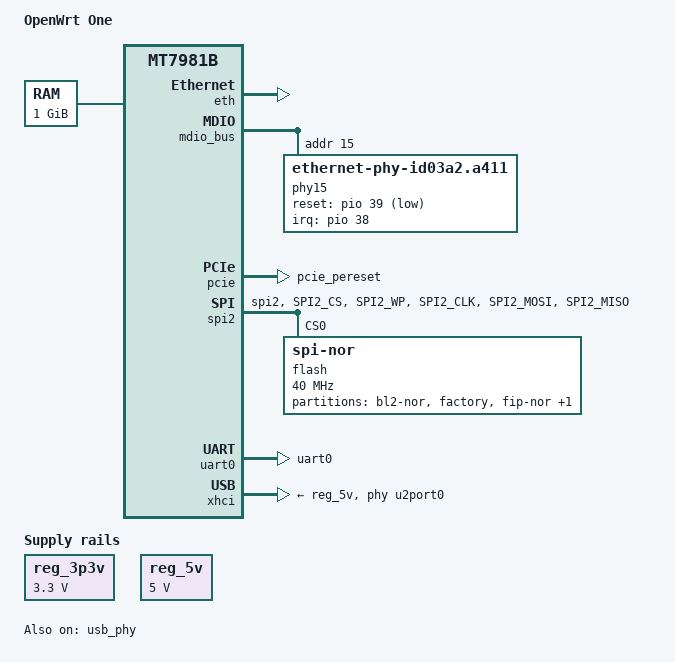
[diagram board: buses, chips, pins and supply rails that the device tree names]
// SPDX-License-Identifier: GPL-2.0-only OR MIT

/dts-v1/;

#include "mt7981b.dtsi"
#include <dt-bindings/gpio/gpio.h>
#include <dt-bindings/leds/common.h>
#include "dt-bindings/pinctrl/mt65xx.h"

/ {
	compatible = "openwrt,one", "mediatek,mt7981b";
	model = "OpenWrt One";

	aliases {
		ethernet0 = &gmac1;
		ethernet1 = &gmac0;
		serial0 = &uart0;
	};

	chosen {
		stdout-path = "serial0:115200n8";
	};

	memory@40000000 {
		reg = <0 0x40000000 0 0x40000000>;
		device_type = "memory";
	};

	reg_3p3v: regulator-3p3v {
		compatible = "regulator-fixed";
		regulator-name = "fixed-3.3V";
		regulator-min-microvolt = <3300000>;
		regulator-max-microvolt = <3300000>;
		regulator-boot-on;
		regulator-always-on;
	};

	reg_5v: regulator-5v {
		compatible = "regulator-fixed";
		regulator-name = "fixed-5V";
		regulator-min-microvolt = <5000000>;
		regulator-max-microvolt = <5000000>;
		regulator-boot-on;
		regulator-always-on;
	};
};

&eth {
	status = "okay";

	gmac0: mac@0 {
		compatible = "mediatek,eth-mac";
		reg = <0>;
		nvmem-cells = <&macaddr_factory_24 0>;
		nvmem-cell-names = "mac-address";
		phy-mode = "2500base-x";
		phy-handle = <&phy15>;
	};

	gmac1: mac@1 {
		compatible = "mediatek,eth-mac";
		reg = <1>;
		phy-mode = "gmii";
		phy-handle = <&int_gbe_phy>;
	};
};

&mdio_bus {
	phy15: ethernet-phy@f {
		compatible = "ethernet-phy-id03a2.a411";
		reg = <0xf>;
		interrupt-parent = <&pio>;
		interrupts = <38 IRQ_TYPE_EDGE_FALLING>;
		reset-gpios = <&pio 39 GPIO_ACTIVE_LOW>;
		reset-assert-us = <10000>;
		reset-deassert-us = <20000>;
		airoha,pnswap-rx;

		leds {
			#address-cells = <1>;
			#size-cells = <0>;

			led@0 {
				reg = <0>;
				function = LED_FUNCTION_WAN;
				color = <LED_COLOR_ID_AMBER>;
			};

			led@1 {
				reg = <1>;
				function = LED_FUNCTION_WAN;
				color = <LED_COLOR_ID_GREEN>;
			};
		};
	};
};

&pcie {
	pinctrl-names = "default";
	pinctrl-0 = <&pcie_pins>;
	status = "okay";
};

&pio {
	pcie_pins: pcie-pins {
		mux {
			function = "pcie";
			groups = "pcie_pereset";
		};
	};

	spi2_flash_pins: spi2-pins {
		mux {
			function = "spi";
			groups = "spi2";
		};

		conf-pu {
			bias-pull-up = <MTK_PUPD_SET_R1R0_11>;
			drive-strength = <MTK_DRIVE_8mA>;
			pins = "SPI2_CS", "SPI2_WP";
		};

		conf-pd {
			bias-pull-down = <MTK_PUPD_SET_R1R0_11>;
			drive-strength = <MTK_DRIVE_8mA>;
			pins = "SPI2_CLK", "SPI2_MOSI", "SPI2_MISO";
		};
	};

	uart0_pins: uart0-pins {
		mux {
			function = "uart";
			groups = "uart0";
		};
	};
};

&spi2 {
	pinctrl-names = "default";
	pinctrl-0 = <&spi2_flash_pins>;
	status = "okay";

	flash@0 {
		compatible = "jedec,spi-nor";
		reg = <0>;
		spi-max-frequency = <40000000>;
		#address-cells = <1>;
		#size-cells = <1>;

		partitions {
			compatible = "fixed-partitions";
			#address-cells = <1>;
			#size-cells = <1>;

			partition@0 {
				reg = <0x00000 0x40000>;
				label = "bl2-nor";
			};

			partition@40000 {
				reg = <0x40000 0xc0000>;
				label = "factory";
				read-only;

				nvmem-layout {
					compatible = "fixed-layout";
					#address-cells = <1>;
					#size-cells = <1>;

					eeprom_factory_0: eeprom@0 {
						reg = <0x0 0x1000>;
					};

					macaddr_factory_4: macaddr@4 {
						reg = <0x4 0x6>;
						compatible = "mac-base";
						#nvmem-cell-cells = <1>;
					};

					macaddr_factory_24: macaddr@24 {
						reg = <0x24 0x6>;
						compatible = "mac-base";
						#nvmem-cell-cells = <1>;
					};
				};
			};

			partition@100000 {
				reg = <0x100000 0x80000>;
				label = "fip-nor";
			};

			partition@180000 {
				reg = <0x180000 0xc80000>;
				label = "recovery";
			};
		};
	};
};

&sgmiisys0 {
	mediatek,pnswap;
};

&uart0 {
	pinctrl-names = "default";
	pinctrl-0 = <&uart0_pins>;
	status = "okay";
};

&usb_phy {
	status = "okay";
};

&xhci {
	phys = <&u2port0 PHY_TYPE_USB2>;
	vusb33-supply = <&reg_3p3v>;
	vbus-supply = <&reg_5v>;
	mediatek,u3p-dis-msk = <0x01>;
	status = "okay";
};
